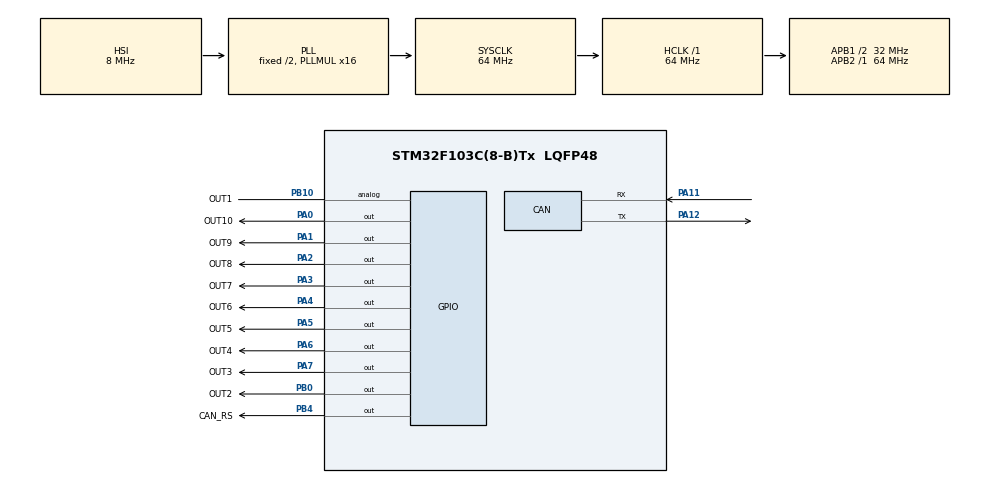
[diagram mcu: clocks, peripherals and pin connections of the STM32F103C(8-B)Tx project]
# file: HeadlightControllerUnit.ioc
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CAN.CalculateTimeBit=1500
CAN.CalculateTimeQuantum=500.0
Mcu.Family=STM32F1
Mcu.Name=STM32F103C(8-B)Tx
Mcu.Package=LQFP48
NVIC.PriorityGroup=NVIC_PRIORITYGROUP_4
PA0-WKUP.GPIO_Label=OUT10
PA0-WKUP.Signal=GPIO_Output
PA1.GPIO_Label=OUT9
PA1.Signal=GPIO_Output
PA11.Mode=Master
PA11.Signal=CAN_RX
PA12.Mode=Master
PA12.Signal=CAN_TX
PA2.GPIO_Label=OUT8
PA2.Signal=GPIO_Output
PA3.GPIO_Label=OUT7
PA3.Signal=GPIO_Output
PA4.GPIO_Label=OUT6
PA4.Signal=GPIO_Output
PA5.GPIO_Label=OUT5
PA5.Signal=GPIO_Output
PA6.GPIO_Label=OUT4
PA6.Signal=GPIO_Output
PA7.GPIO_Label=OUT3
PA7.Signal=GPIO_Output
PB0.GPIO_Label=OUT2
PB0.Signal=GPIO_Output
PB10.GPIO_Label=OUT1
PB10.Signal=GPIO_Analog
PB4.GPIO_Label=CAN_RS
PB4.Signal=GPIO_Output
ProjectManager.HeapSize=0x200
ProjectManager.StackSize=0x400
ProjectManager.TargetToolchain=STM32CubeIDE
RCC.AHBFreq_Value=64000000
RCC.APB1CLKDivider=RCC_HCLK_DIV2
RCC.APB1Freq_Value=32000000
RCC.APB1TimFreq_Value=64000000
RCC.APB2Freq_Value=64000000
RCC.APB2TimFreq_Value=64000000
RCC.HCLKFreq_Value=64000000
RCC.PLLMUL=RCC_PLL_MUL16
RCC.SYSCLKFreq_VALUE=64000000
RCC.SYSCLKSource=RCC_SYSCLKSOURCE_PLLCLK
RCC.USBFreq_Value=64000000
VP_SYS_VS_ND.Mode=No_Debug
board=custom

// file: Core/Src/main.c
/* USER CODE BEGIN Header */
/**
  ******************************************************************************
  * @file           : main.c
  * @brief          : Main program body
  ******************************************************************************
  * @attention
  *
  * <h2><center>&copy; Copyright (c) 2020 STMicroelectronics.
  * All rights reserved.</center></h2>
  *
  * This software component is licensed by ST under BSD 3-Clause license,
  * the "License"; You may not use this file except in compliance with the
  * License. You may obtain a copy of the License at:
  *                        opensource.org/licenses/BSD-3-Clause
  *
  ******************************************************************************
  */
/* USER CODE END Header */

#include "main.h"

CAN_HandleTypeDef hcan;

/* USER CODE BEGIN PV */

uint32_t TxMailbox;

typedef struct
	{
		uint8_t 				TxData[8];
		CAN_TxHeaderTypeDef		TxHeader;
		uint8_t 				RxData[8];
	}CAN_FrameInit;

CAN_FrameInit frame0;

void cansend(void) {
	frame0.TxHeader.StdId = 0x050;
	frame0.TxHeader.RTR = CAN_RTR_DATA;
	frame0.TxHeader.IDE = CAN_ID_STD;
	frame0.TxHeader.DLC = 4;
	frame0.TxHeader.TransmitGlobalTime = DISABLE;
	frame0.TxData[0] = 130;
	frame0.TxData[1] = 83;
	frame0.TxData[2] = 130;
	frame0.TxData[3] = 01;

	if (HAL_CAN_AddTxMessage(&hcan, &frame0.TxHeader, frame0.TxData,
			&TxMailbox) != HAL_OK) {
		Error_Handler();
	}

	while (HAL_CAN_GetTxMailboxesFreeLevel(&hcan) != 3) {
	}

}

/* USER CODE END PV */

void SystemClock_Config(void);
static void MX_GPIO_Init(void);
static void MX_CAN_Init(void);

int main(void)
{

  /* MCU Configuration--------------------------------------------------------*/

  /* Reset of all peripherals, Initializes the Flash interface and the Systick. */
  HAL_Init();

  /* Configure the system clock */
  SystemClock_Config();

  /* Initialize all configured peripherals */
  MX_GPIO_Init();
  MX_CAN_Init();
  /* USER CODE BEGIN 2 */

  HAL_GPIO_WritePin(OUT9_GPIO_Port, OUT9_Pin, 1);
  HAL_GPIO_WritePin(OUT10_GPIO_Port, OUT10_Pin, 0);
  HAL_GPIO_WritePin(CAN_RS_GPIO_Port, CAN_RS_Pin, 0);  // can rs pull down;
  HAL_CAN_Start(&hcan);
  /* USER CODE END 2 */

  /* Infinite loop */
  /* USER CODE BEGIN WHILE */
  while (1)
  {

	  cansend();
	  HAL_Delay(150);
	  HAL_GPIO_TogglePin(OUT10_GPIO_Port, OUT10_Pin);
	  HAL_GPIO_TogglePin(OUT9_GPIO_Port, OUT9_Pin);
	  HAL_Delay(100);

    /* USER CODE END WHILE */

  }
}

void SystemClock_Config(void)
{
  RCC_OscInitTypeDef RCC_OscInitStruct = {0};
  RCC_ClkInitTypeDef RCC_ClkInitStruct = {0};

  /** Initializes the CPU, AHB and APB busses clocks
  */
  RCC_OscInitStruct.OscillatorType = RCC_OSCILLATORTYPE_HSI;
  RCC_OscInitStruct.HSIState = RCC_HSI_ON;
  RCC_OscInitStruct.HSICalibrationValue = RCC_HSICALIBRATION_DEFAULT;
  RCC_OscInitStruct.PLL.PLLState = RCC_PLL_ON;
  RCC_OscInitStruct.PLL.PLLSource = RCC_PLLSOURCE_HSI_DIV2;
  RCC_OscInitStruct.PLL.PLLMUL = RCC_PLL_MUL16;
  if (HAL_RCC_OscConfig(&RCC_OscInitStruct) != HAL_OK)
  {
    Error_Handler();
  }
  /** Initializes the CPU, AHB and APB busses clocks
  */
  RCC_ClkInitStruct.ClockType = RCC_CLOCKTYPE_HCLK|RCC_CLOCKTYPE_SYSCLK
                              |RCC_CLOCKTYPE_PCLK1|RCC_CLOCKTYPE_PCLK2;
  RCC_ClkInitStruct.SYSCLKSource = RCC_SYSCLKSOURCE_PLLCLK;
  RCC_ClkInitStruct.AHBCLKDivider = RCC_SYSCLK_DIV1;
  RCC_ClkInitStruct.APB1CLKDivider = RCC_HCLK_DIV2;
  RCC_ClkInitStruct.APB2CLKDivider = RCC_HCLK_DIV1;

  if (HAL_RCC_ClockConfig(&RCC_ClkInitStruct, FLASH_LATENCY_2) != HAL_OK)
  {
    Error_Handler();
  }
}

static void MX_CAN_Init(void)
{

  hcan.Instance = CAN1;
  hcan.Init.Prescaler = 20;
  hcan.Init.Mode = CAN_MODE_NORMAL;
  hcan.Init.SyncJumpWidth = CAN_SJW_1TQ;
  hcan.Init.TimeSeg1 = CAN_BS1_13TQ;
  hcan.Init.TimeSeg2 = CAN_BS2_1TQ;
  hcan.Init.TimeTriggeredMode = DISABLE;
  hcan.Init.AutoBusOff = DISABLE;
  hcan.Init.AutoWakeUp = DISABLE;
  hcan.Init.AutoRetransmission = DISABLE;
  hcan.Init.ReceiveFifoLocked = DISABLE;
  hcan.Init.TransmitFifoPriority = DISABLE;
  if (HAL_CAN_Init(&hcan) != HAL_OK)
  {
    Error_Handler();
  }

}

static void MX_GPIO_Init(void)
{
  GPIO_InitTypeDef GPIO_InitStruct = {0};

  /* GPIO Ports Clock Enable */
  __HAL_RCC_GPIOA_CLK_ENABLE();
  __HAL_RCC_GPIOB_CLK_ENABLE();

  /*Configure GPIO pin Output Level */
  HAL_GPIO_WritePin(GPIOA, OUT10_Pin|OUT9_Pin|OUT8_Pin|OUT7_Pin
                          |OUT6_Pin|OUT5_Pin|OUT4_Pin|OUT3_Pin, GPIO_PIN_RESET);

  /*Configure GPIO pin Output Level */
  HAL_GPIO_WritePin(GPIOB, OUT2_Pin|CAN_RS_Pin, GPIO_PIN_RESET);

  /*Configure GPIO pins : OUT10_Pin OUT9_Pin OUT8_Pin OUT7_Pin
                           OUT6_Pin OUT5_Pin OUT4_Pin OUT3_Pin */
  GPIO_InitStruct.Pin = OUT10_Pin|OUT9_Pin|OUT8_Pin|OUT7_Pin
                          |OUT6_Pin|OUT5_Pin|OUT4_Pin|OUT3_Pin;
  GPIO_InitStruct.Mode = GPIO_MODE_OUTPUT_PP;
  GPIO_InitStruct.Pull = GPIO_NOPULL;
  GPIO_InitStruct.Speed = GPIO_SPEED_FREQ_LOW;
  HAL_GPIO_Init(GPIOA, &GPIO_InitStruct);

  /*Configure GPIO pins : OUT2_Pin CAN_RS_Pin */
  GPIO_InitStruct.Pin = OUT2_Pin|CAN_RS_Pin;
  GPIO_InitStruct.Mode = GPIO_MODE_OUTPUT_PP;
  GPIO_InitStruct.Pull = GPIO_NOPULL;
  GPIO_InitStruct.Speed = GPIO_SPEED_FREQ_LOW;
  HAL_GPIO_Init(GPIOB, &GPIO_InitStruct);

  /*Configure GPIO pin : OUT1_Pin */
  GPIO_InitStruct.Pin = OUT1_Pin;
  GPIO_InitStruct.Mode = GPIO_MODE_ANALOG;
  HAL_GPIO_Init(OUT1_GPIO_Port, &GPIO_InitStruct);

}

void Error_Handler(void)
{
}

/************************ (C) COPYRIGHT STMicroelectronics *****END OF FILE****/
